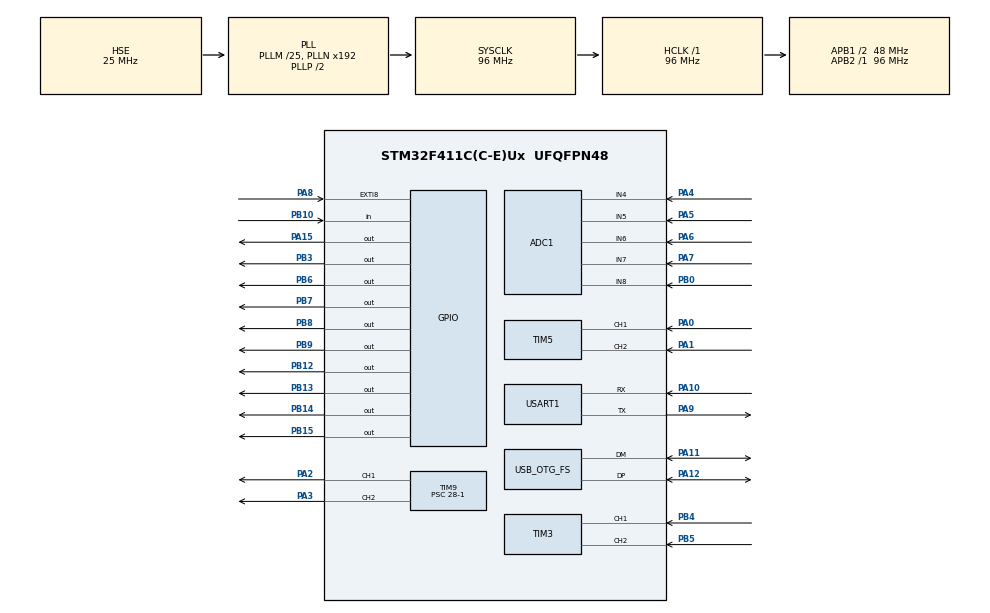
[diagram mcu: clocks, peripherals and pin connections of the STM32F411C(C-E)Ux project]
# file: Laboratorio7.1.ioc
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ADC1.Channel-1\#ChannelRegularConversion=ADC_CHANNEL_4
ADC1.Channel-2\#ChannelRegularConversion=ADC_CHANNEL_5
ADC1.Channel-3\#ChannelRegularConversion=ADC_CHANNEL_6
ADC1.Channel-4\#ChannelRegularConversion=ADC_CHANNEL_7
ADC1.Channel-5\#ChannelRegularConversion=ADC_CHANNEL_8
ADC1.NbrOfConversion=5
ADC1.NbrOfConversionFlag=1
ADC1.Rank-1\#ChannelRegularConversion=1
ADC1.Rank-2\#ChannelRegularConversion=2
ADC1.Rank-3\#ChannelRegularConversion=3
ADC1.Rank-4\#ChannelRegularConversion=4
ADC1.Rank-5\#ChannelRegularConversion=5
ADC1.SamplingTime-1\#ChannelRegularConversion=ADC_SAMPLETIME_3CYCLES
ADC1.SamplingTime-2\#ChannelRegularConversion=ADC_SAMPLETIME_3CYCLES
ADC1.SamplingTime-3\#ChannelRegularConversion=ADC_SAMPLETIME_3CYCLES
ADC1.SamplingTime-4\#ChannelRegularConversion=ADC_SAMPLETIME_3CYCLES
ADC1.SamplingTime-5\#ChannelRegularConversion=ADC_SAMPLETIME_3CYCLES
ADC1.ScanConvMode=ENABLE
ADC1.master=1
Dma.ADC1.0.Direction=DMA_PERIPH_TO_MEMORY
Dma.ADC1.0.FIFOMode=DMA_FIFOMODE_DISABLE
Dma.ADC1.0.Instance=DMA2_Stream0
Dma.ADC1.0.MemDataAlignment=DMA_MDATAALIGN_HALFWORD
Dma.ADC1.0.MemInc=DMA_MINC_ENABLE
Dma.ADC1.0.Mode=DMA_CIRCULAR
Dma.ADC1.0.PeriphDataAlignment=DMA_PDATAALIGN_HALFWORD
Dma.ADC1.0.PeriphInc=DMA_PINC_DISABLE
Dma.ADC1.0.Priority=DMA_PRIORITY_LOW
Dma.Request0=ADC1
Mcu.Family=STM32F4
Mcu.Name=STM32F411C(C-E)Ux
Mcu.Package=UFQFPN48
NVIC.DMA2_Stream0_IRQn=true\:0\:0\:false\:false\:true\:false\:true\:true
NVIC.OTG_FS_IRQn=true\:0\:0\:false\:false\:true\:false\:true\:true
NVIC.PriorityGroup=NVIC_PRIORITYGROUP_4
PA0-WKUP.Signal=S_TIM5_CH1
PA1.Signal=S_TIM5_CH2
PA10.Mode=Asynchronous
PA10.Signal=USART1_RX
PA11.Mode=Device_Only
PA11.Signal=USB_OTG_FS_DM
PA12.Mode=Device_Only
PA12.Signal=USB_OTG_FS_DP
PA13.Mode=Serial_Wire
PA13.Signal=SYS_JTMS-SWDIO
PA14.Mode=Serial_Wire
PA14.Signal=SYS_JTCK-SWCLK
PA15.Signal=GPIO_Output
PA2.Signal=S_TIM9_CH1
PA3.Signal=S_TIM9_CH2
PA4.Signal=ADCx_IN4
PA5.Signal=ADCx_IN5
PA6.Signal=ADCx_IN6
PA7.Signal=ADCx_IN7
PA8.Signal=GPXTI8
PA9.Mode=Asynchronous
PA9.Signal=USART1_TX
PB0.Signal=ADCx_IN8
PB10.Signal=GPIO_Input
PB12.Signal=GPIO_Output
PB13.Signal=GPIO_Output
PB14.Signal=GPIO_Output
PB15.Signal=GPIO_Output
PB3.Signal=GPIO_Output
PB4.Signal=S_TIM3_CH1
PB5.Signal=S_TIM3_CH2
PB6.Signal=GPIO_Output
PB7.Signal=GPIO_Output
PB8.Signal=GPIO_Output
PB9.Signal=GPIO_Output
PH0\ -\ OSC_IN.Mode=HSE-External-Oscillator
PH0\ -\ OSC_IN.Signal=RCC_OSC_IN
PH1\ -\ OSC_OUT.Mode=HSE-External-Oscillator
PH1\ -\ OSC_OUT.Signal=RCC_OSC_OUT
ProjectManager.HeapSize=0x200
ProjectManager.StackSize=0x400
ProjectManager.TargetToolchain=STM32CubeIDE
RCC.48MHZClocksFreq_Value=48000000
RCC.AHBFreq_Value=96000000
RCC.APB1CLKDivider=RCC_HCLK_DIV2
RCC.APB1Freq_Value=48000000
RCC.APB1TimFreq_Value=96000000
RCC.APB2Freq_Value=96000000
RCC.APB2TimFreq_Value=96000000
RCC.CortexFreq_Value=96000000
RCC.HCLKFreq_Value=96000000
RCC.HSE_VALUE=25000000
RCC.HSI_VALUE=16000000
RCC.LSE_VALUE=32768
RCC.PLLM=25
RCC.SYSCLKFreq_VALUE=96000000
RCC.SYSCLKSource=RCC_SYSCLKSOURCE_PLLCLK
RCC.VCOOutputFreq_Value=192000000
SH.ADCx_IN4.0=ADC1_IN4,IN4
SH.ADCx_IN5.0=ADC1_IN5,IN5
SH.ADCx_IN6.0=ADC1_IN6,IN6
SH.ADCx_IN7.0=ADC1_IN7,IN7
SH.ADCx_IN8.0=ADC1_IN8,IN8
SH.S_TIM3_CH1.0=TIM3_CH1,Encoder_Interface
SH.S_TIM3_CH2.0=TIM3_CH2,Encoder_Interface
SH.S_TIM5_CH1.0=TIM5_CH1,Encoder_Interface
SH.S_TIM5_CH2.0=TIM5_CH2,Encoder_Interface
SH.S_TIM9_CH1.0=TIM9_CH1,PWM Generation1 CH1
SH.S_TIM9_CH2.0=TIM9_CH2,PWM Generation2 CH2
TIM1.Prescaler=48000-1
TIM2.Prescaler=48000-1
TIM3.EncoderMode=TIM_ENCODERMODE_TI12
TIM3.IC1Filter=15
TIM3.IC1Polarity=TIM_ICPOLARITY_FALLING
TIM3.IC2Filter=15
TIM3.IC2Polarity=TIM_ICPOLARITY_FALLING
TIM4.Prescaler=48000-1
TIM5.EncoderMode=TIM_ENCODERMODE_TI12
TIM5.IC1Filter=15
TIM5.IC1Polarity=TIM_ICPOLARITY_FALLING
TIM5.IC2Filter=15
TIM5.IC2Polarity=TIM_ICPOLARITY_FALLING
TIM9.Channel-PWM\ Generation1\ CH1=TIM_CHANNEL_1
TIM9.Channel-PWM\ Generation2\ CH2=TIM_CHANNEL_2
TIM9.Period=100-1
TIM9.Prescaler=28-1
USART1.VirtualMode=VM_ASYNC
USB_DEVICE.CLASS_NAME_FS=CDC
USB_DEVICE.VirtualMode=Cdc
USB_DEVICE.VirtualModeFS=Cdc_FS
USB_OTG_FS.VirtualMode=Device_Only
VP_TIM1_VS_ClockSourceINT.Mode=Internal
VP_TIM2_VS_ClockSourceINT.Mode=Internal
VP_TIM4_VS_ClockSourceINT.Mode=Internal
VP_TIM9_VS_ClockSourceINT.Mode=Internal
VP_USB_DEVICE_VS_USB_DEVICE_CDC_FS.Mode=CDC_FS
board=custom

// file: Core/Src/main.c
/* USER CODE BEGIN Header */
/**
  ******************************************************************************
  * @file           : main.c
  * @brief          : Main program body
  ******************************************************************************
  * @attention
  *
  * Copyright (c) 2025 STMicroelectronics.
  * All rights reserved.
  *
  * This software is licensed under terms that can be found in the LICENSE file
  * in the root directory of this software component.
  * If no LICENSE file comes with this software, it is provided AS-IS.
  *
  ******************************************************************************
  */
/* USER CODE END Header */
#include "main.h"
#include "usb_device.h"

/* USER CODE BEGIN Includes */
#include "usbd_cdc_if.h"
#include "motorDriver.h"
#include <math.h>
#include "comunicacion.h"
#include "velocidad.h"
#include "distancia.h"
#include "complemento.h"

/* USER CODE END Includes */

ADC_HandleTypeDef hadc1;
DMA_HandleTypeDef hdma_adc1;

TIM_HandleTypeDef htim1;
TIM_HandleTypeDef htim2;
TIM_HandleTypeDef htim3;
TIM_HandleTypeDef htim4;
TIM_HandleTypeDef htim5;
TIM_HandleTypeDef htim9;

UART_HandleTypeDef huart1;

void SystemClock_Config(void);
static void MX_GPIO_Init(void);
static void MX_DMA_Init(void);
static void MX_TIM2_Init(void);
static void MX_TIM3_Init(void);
static void MX_TIM5_Init(void);
static void MX_TIM9_Init(void);
static void MX_ADC1_Init(void);
static void MX_TIM4_Init(void);
static void MX_TIM1_Init(void);
static void MX_USART1_UART_Init(void);

/* USER CODE BEGIN 0 */
uint8_t set = 1;
float pulsos = 0;
float pulsos_2 = 0;
uint32_t tiempo = 0;
int32_t dir_mm;
int16_t pwm_mm = 0;
int32_t val_pwm = 0;
float pulsos_ant = 0;
float pulsos_act = 0;
float pulsos_ant_2 = 0;
float pulsos_act_2 = 0;
int32_t contador_actual = 0;
int32_t contador_actual_2 = 0;
int32_t contador = 0;
int16_t rpm = 0;
int16_t rpm_2 = 0;
int16_t rpm_f = 0;
float diametro_rueda = 38.2;
int16_t velocidad_mm_s = 0;
int16_t velocidad_rad_s = 0;
int32_t valor;
int32_t voltaje;
int16_t vel_mm_s;
int8_t velocidad_motor;
float voltaje_float;

uint16_t adcValue[5] = {0, 0, 0, 0, 0};
uint16_t adcMM[5] = {0, 0, 0, 0, 0};
float adcVoltaje[5] = {0, 0, 0, 0, 0};
char texto[64];
uint16_t distancia_objetivo;

#define ADC_BUFFER_SIZE 10
uint16_t adc_buffer[5][ADC_BUFFER_SIZE] = {0};
uint8_t adc_buffer_index = 0;

float adc_avg[5] = {0, 0, 0, 0, 0};
uint8_t muestras = 0;
uint8_t bnd = 0;

float distancias_mm[] = {20, 25, 30, 35, 40, 45, 50, 55, 60, 65, 70, 75, 80, 85, 90, 95, 100,
                         105, 110, 115, 120, 125, 130, 135, 140, 145, 150, 155, 160, 165,
                         170, 175, 180, 185, 190, 195, 200, 205, 210, 215, 220};
int num_puntos = 41;

uint16_t adc_sensor1[] = {2580, 2279, 1972, 1606, 1372, 1160, 998, 838, 684, 582, 506, 435,
                          373, 335, 333, 303, 277, 253, 228, 209, 193, 180, 167, 161, 155,
                          147, 140, 136, 132, 130, 128, 124, 127, 124, 122, 122, 119, 118, 118, 118, 117};
uint16_t adc_sensor2[] = {925, 849, 752, 650, 589, 517, 479, 424, 367, 333, 306, 264,
                          250, 224, 223, 205, 189, 183, 174, 161, 150, 143, 134, 130,
                          127, 122, 116, 116, 114, 113, 115, 120, 118, 121, 121, 119, 120,
                          119, 119, 119, 120};
uint16_t adc_sensor3[] = {1071, 891, 727, 557, 464, 377, 324, 274, 242, 213, 197, 173,
                          173, 166, 166, 158, 148, 144, 140, 130, 129, 124, 121, 121,
                          123, 124, 127, 124, 124, 122, 119, 118, 120, 117, 119, 122, 120,
                          119, 119, 119, 119};
uint16_t adc_sensor4[] = {3497, 3025, 2412, 1873, 1583, 1313, 1119, 969, 809, 717, 643, 575,
                          527, 492, 4491, 467, 446, 427, 411, 392, 380, 374, 360, 356,
                          350, 340, 339, 334, 331, 329, 326, 324, 326, 326, 323, 321, 319,
                          319, 318, 316, 316};

/* USER CODE END 0 */

int main(void)
{

  /* MCU Configuration--------------------------------------------------------*/

  /* Reset of all peripherals, Initializes the Flash interface and the Systick. */
  HAL_Init();

  /* Configure the system clock */
  SystemClock_Config();

  /* Initialize all configured peripherals */
  MX_GPIO_Init();
  MX_DMA_Init();
  MX_TIM2_Init();
  MX_TIM3_Init();
  MX_USB_DEVICE_Init();
  MX_TIM5_Init();
  MX_TIM9_Init();
  MX_ADC1_Init();
  MX_TIM4_Init();
  MX_TIM1_Init();
  MX_USART1_UART_Init();
  /* USER CODE BEGIN 2 */
  motoresInit(&htim9, TIM_CHANNEL_1, TIM_CHANNEL_2);
  HAL_TIM_Base_Start(&htim1);
  HAL_TIM_Base_Start(&htim2);
  HAL_TIM_Base_Start(&htim3);
  HAL_TIM_Base_Start(&htim4);
  HAL_TIM_Encoder_Start(&htim5, TIM_CHANNEL_ALL);

  HAL_ADC_Start_DMA(&hadc1, adcValue, 5);

  /* USER CODE END 2 */

  /* Infinite loop */
  /* USER CODE BEGIN WHILE */
  while (1)
  {

	  instruction();

	  calculo_rpm();

	  contador = ((int32_t)__HAL_TIM_GET_COUNTER(&htim5)) /1431;
	  tiempo = (__HAL_TIM_GET_COUNTER(&htim2)/2);

	  calibracion();
	  promedio_adc();
	  calculo_mm();

	  datos_enviar(rpm_f, contador, tiempo, velocidad_mm_s, velocidad_rad_s,
	                   adcValue[0], adcValue[1], adcValue[2], adcValue[3],
	                   adcVoltaje[0], adcVoltaje[1], adcVoltaje[2], adcVoltaje[3],
	                   adcMM[0], adcMM[1], adcMM[2], adcMM[3]);

	  if((bnd == 1) && (HAL_GPIO_ReadPin(GPIOB, GPIO_PIN_10) == 0)){
		  control_distancia(distancia_objetivo);
		  bnd = 0;
	  }

    /* USER CODE END WHILE */

  }
}

void SystemClock_Config(void)
{
  RCC_OscInitTypeDef RCC_OscInitStruct = {0};
  RCC_ClkInitTypeDef RCC_ClkInitStruct = {0};

  /** Configure the main internal regulator output voltage
  */
  __HAL_RCC_PWR_CLK_ENABLE();
  __HAL_PWR_VOLTAGESCALING_CONFIG(PWR_REGULATOR_VOLTAGE_SCALE1);

  /** Initializes the RCC Oscillators according to the specified parameters
  * in the RCC_OscInitTypeDef structure.
  */
  RCC_OscInitStruct.OscillatorType = RCC_OSCILLATORTYPE_HSE;
  RCC_OscInitStruct.HSEState = RCC_HSE_ON;
  RCC_OscInitStruct.PLL.PLLState = RCC_PLL_ON;
  RCC_OscInitStruct.PLL.PLLSource = RCC_PLLSOURCE_HSE;
  RCC_OscInitStruct.PLL.PLLM = 25;
  RCC_OscInitStruct.PLL.PLLN = 192;
  RCC_OscInitStruct.PLL.PLLP = RCC_PLLP_DIV2;
  RCC_OscInitStruct.PLL.PLLQ = 4;
  if (HAL_RCC_OscConfig(&RCC_OscInitStruct) != HAL_OK)
  {
    Error_Handler();
  }

  /** Initializes the CPU, AHB and APB buses clocks
  */
  RCC_ClkInitStruct.ClockType = RCC_CLOCKTYPE_HCLK|RCC_CLOCKTYPE_SYSCLK
                              |RCC_CLOCKTYPE_PCLK1|RCC_CLOCKTYPE_PCLK2;
  RCC_ClkInitStruct.SYSCLKSource = RCC_SYSCLKSOURCE_PLLCLK;
  RCC_ClkInitStruct.AHBCLKDivider = RCC_SYSCLK_DIV1;
  RCC_ClkInitStruct.APB1CLKDivider = RCC_HCLK_DIV2;
  RCC_ClkInitStruct.APB2CLKDivider = RCC_HCLK_DIV1;

  if (HAL_RCC_ClockConfig(&RCC_ClkInitStruct, FLASH_LATENCY_3) != HAL_OK)
  {
    Error_Handler();
  }
}

static void MX_ADC1_Init(void)
{

  ADC_ChannelConfTypeDef sConfig = {0};

  /** Configure the global features of the ADC (Clock, Resolution, Data Alignment and number of conversion)
  */
  hadc1.Instance = ADC1;
  hadc1.Init.ClockPrescaler = ADC_CLOCK_SYNC_PCLK_DIV4;
  hadc1.Init.Resolution = ADC_RESOLUTION_12B;
  hadc1.Init.ScanConvMode = ENABLE;
  hadc1.Init.ContinuousConvMode = DISABLE;
  hadc1.Init.DiscontinuousConvMode = DISABLE;
  hadc1.Init.ExternalTrigConvEdge = ADC_EXTERNALTRIGCONVEDGE_NONE;
  hadc1.Init.ExternalTrigConv = ADC_SOFTWARE_START;
  hadc1.Init.DataAlign = ADC_DATAALIGN_RIGHT;
  hadc1.Init.NbrOfConversion = 5;
  hadc1.Init.DMAContinuousRequests = DISABLE;
  hadc1.Init.EOCSelection = ADC_EOC_SINGLE_CONV;
  if (HAL_ADC_Init(&hadc1) != HAL_OK)
  {
    Error_Handler();
  }

  /** Configure for the selected ADC regular channel its corresponding rank in the sequencer and its sample time.
  */
  sConfig.Channel = ADC_CHANNEL_4;
  sConfig.Rank = 1;
  sConfig.SamplingTime = ADC_SAMPLETIME_3CYCLES;
  if (HAL_ADC_ConfigChannel(&hadc1, &sConfig) != HAL_OK)
  {
    Error_Handler();
  }

  /** Configure for the selected ADC regular channel its corresponding rank in the sequencer and its sample time.
  */
  sConfig.Channel = ADC_CHANNEL_5;
  sConfig.Rank = 2;
  if (HAL_ADC_ConfigChannel(&hadc1, &sConfig) != HAL_OK)
  {
    Error_Handler();
  }

  /** Configure for the selected ADC regular channel its corresponding rank in the sequencer and its sample time.
  */
  sConfig.Channel = ADC_CHANNEL_6;
  sConfig.Rank = 3;
  if (HAL_ADC_ConfigChannel(&hadc1, &sConfig) != HAL_OK)
  {
    Error_Handler();
  }

  /** Configure for the selected ADC regular channel its corresponding rank in the sequencer and its sample time.
  */
  sConfig.Channel = ADC_CHANNEL_7;
  sConfig.Rank = 4;
  if (HAL_ADC_ConfigChannel(&hadc1, &sConfig) != HAL_OK)
  {
    Error_Handler();
  }

  /** Configure for the selected ADC regular channel its corresponding rank in the sequencer and its sample time.
  */
  sConfig.Channel = ADC_CHANNEL_8;
  sConfig.Rank = 5;
  if (HAL_ADC_ConfigChannel(&hadc1, &sConfig) != HAL_OK)
  {
    Error_Handler();
  }

}

static void MX_TIM1_Init(void)
{

  TIM_ClockConfigTypeDef sClockSourceConfig = {0};
  TIM_MasterConfigTypeDef sMasterConfig = {0};

  htim1.Instance = TIM1;
  htim1.Init.Prescaler = 48000-1;
  htim1.Init.CounterMode = TIM_COUNTERMODE_UP;
  htim1.Init.Period = 65535;
  htim1.Init.ClockDivision = TIM_CLOCKDIVISION_DIV1;
  htim1.Init.RepetitionCounter = 0;
  htim1.Init.AutoReloadPreload = TIM_AUTORELOAD_PRELOAD_DISABLE;
  if (HAL_TIM_Base_Init(&htim1) != HAL_OK)
  {
    Error_Handler();
  }
  sClockSourceConfig.ClockSource = TIM_CLOCKSOURCE_INTERNAL;
  if (HAL_TIM_ConfigClockSource(&htim1, &sClockSourceConfig) != HAL_OK)
  {
    Error_Handler();
  }
  sMasterConfig.MasterOutputTrigger = TIM_TRGO_RESET;
  sMasterConfig.MasterSlaveMode = TIM_MASTERSLAVEMODE_DISABLE;
  if (HAL_TIMEx_MasterConfigSynchronization(&htim1, &sMasterConfig) != HAL_OK)
  {
    Error_Handler();
  }

}

static void MX_TIM2_Init(void)
{

  TIM_ClockConfigTypeDef sClockSourceConfig = {0};
  TIM_MasterConfigTypeDef sMasterConfig = {0};

  htim2.Instance = TIM2;
  htim2.Init.Prescaler = 48000-1;
  htim2.Init.CounterMode = TIM_COUNTERMODE_UP;
  htim2.Init.Period = 4294967295;
  htim2.Init.ClockDivision = TIM_CLOCKDIVISION_DIV1;
  htim2.Init.AutoReloadPreload = TIM_AUTORELOAD_PRELOAD_DISABLE;
  if (HAL_TIM_Base_Init(&htim2) != HAL_OK)
  {
    Error_Handler();
  }
  sClockSourceConfig.ClockSource = TIM_CLOCKSOURCE_INTERNAL;
  if (HAL_TIM_ConfigClockSource(&htim2, &sClockSourceConfig) != HAL_OK)
  {
    Error_Handler();
  }
  sMasterConfig.MasterOutputTrigger = TIM_TRGO_RESET;
  sMasterConfig.MasterSlaveMode = TIM_MASTERSLAVEMODE_DISABLE;
  if (HAL_TIMEx_MasterConfigSynchronization(&htim2, &sMasterConfig) != HAL_OK)
  {
    Error_Handler();
  }

}

static void MX_TIM3_Init(void)
{

  TIM_Encoder_InitTypeDef sConfig = {0};
  TIM_MasterConfigTypeDef sMasterConfig = {0};

  htim3.Instance = TIM3;
  htim3.Init.Prescaler = 0;
  htim3.Init.CounterMode = TIM_COUNTERMODE_UP;
  htim3.Init.Period = 65535;
  htim3.Init.ClockDivision = TIM_CLOCKDIVISION_DIV1;
  htim3.Init.AutoReloadPreload = TIM_AUTORELOAD_PRELOAD_DISABLE;
  sConfig.EncoderMode = TIM_ENCODERMODE_TI12;
  sConfig.IC1Polarity = TIM_ICPOLARITY_FALLING;
  sConfig.IC1Selection = TIM_ICSELECTION_DIRECTTI;
  sConfig.IC1Prescaler = TIM_ICPSC_DIV1;
  sConfig.IC1Filter = 15;
  sConfig.IC2Polarity = TIM_ICPOLARITY_FALLING;
  sConfig.IC2Selection = TIM_ICSELECTION_DIRECTTI;
  sConfig.IC2Prescaler = TIM_ICPSC_DIV1;
  sConfig.IC2Filter = 15;
  if (HAL_TIM_Encoder_Init(&htim3, &sConfig) != HAL_OK)
  {
    Error_Handler();
  }
  sMasterConfig.MasterOutputTrigger = TIM_TRGO_RESET;
  sMasterConfig.MasterSlaveMode = TIM_MASTERSLAVEMODE_DISABLE;
  if (HAL_TIMEx_MasterConfigSynchronization(&htim3, &sMasterConfig) != HAL_OK)
  {
    Error_Handler();
  }

}

static void MX_TIM4_Init(void)
{

  TIM_ClockConfigTypeDef sClockSourceConfig = {0};
  TIM_MasterConfigTypeDef sMasterConfig = {0};

  htim4.Instance = TIM4;
  htim4.Init.Prescaler = 48000-1;
  htim4.Init.CounterMode = TIM_COUNTERMODE_UP;
  htim4.Init.Period = 65535;
  htim4.Init.ClockDivision = TIM_CLOCKDIVISION_DIV1;
  htim4.Init.AutoReloadPreload = TIM_AUTORELOAD_PRELOAD_DISABLE;
  if (HAL_TIM_Base_Init(&htim4) != HAL_OK)
  {
    Error_Handler();
  }
  sClockSourceConfig.ClockSource = TIM_CLOCKSOURCE_INTERNAL;
  if (HAL_TIM_ConfigClockSource(&htim4, &sClockSourceConfig) != HAL_OK)
  {
    Error_Handler();
  }
  sMasterConfig.MasterOutputTrigger = TIM_TRGO_RESET;
  sMasterConfig.MasterSlaveMode = TIM_MASTERSLAVEMODE_DISABLE;
  if (HAL_TIMEx_MasterConfigSynchronization(&htim4, &sMasterConfig) != HAL_OK)
  {
    Error_Handler();
  }

}

static void MX_TIM5_Init(void)
{

  TIM_Encoder_InitTypeDef sConfig = {0};
  TIM_MasterConfigTypeDef sMasterConfig = {0};

  htim5.Instance = TIM5;
  htim5.Init.Prescaler = 0;
  htim5.Init.CounterMode = TIM_COUNTERMODE_UP;
  htim5.Init.Period = 4294967295;
  htim5.Init.ClockDivision = TIM_CLOCKDIVISION_DIV1;
  htim5.Init.AutoReloadPreload = TIM_AUTORELOAD_PRELOAD_DISABLE;
  sConfig.EncoderMode = TIM_ENCODERMODE_TI12;
  sConfig.IC1Polarity = TIM_ICPOLARITY_FALLING;
  sConfig.IC1Selection = TIM_ICSELECTION_DIRECTTI;
  sConfig.IC1Prescaler = TIM_ICPSC_DIV1;
  sConfig.IC1Filter = 15;
  sConfig.IC2Polarity = TIM_ICPOLARITY_FALLING;
  sConfig.IC2Selection = TIM_ICSELECTION_DIRECTTI;
  sConfig.IC2Prescaler = TIM_ICPSC_DIV1;
  sConfig.IC2Filter = 15;
  if (HAL_TIM_Encoder_Init(&htim5, &sConfig) != HAL_OK)
  {
    Error_Handler();
  }
  sMasterConfig.MasterOutputTrigger = TIM_TRGO_RESET;
  sMasterConfig.MasterSlaveMode = TIM_MASTERSLAVEMODE_DISABLE;
  if (HAL_TIMEx_MasterConfigSynchronization(&htim5, &sMasterConfig) != HAL_OK)
  {
    Error_Handler();
  }

}

static void MX_TIM9_Init(void)
{

  TIM_ClockConfigTypeDef sClockSourceConfig = {0};
  TIM_OC_InitTypeDef sConfigOC = {0};

  htim9.Instance = TIM9;
  htim9.Init.Prescaler = 28-1;
  htim9.Init.CounterMode = TIM_COUNTERMODE_UP;
  htim9.Init.Period = 100-1;
  htim9.Init.ClockDivision = TIM_CLOCKDIVISION_DIV1;
  htim9.Init.AutoReloadPreload = TIM_AUTORELOAD_PRELOAD_DISABLE;
  if (HAL_TIM_Base_Init(&htim9) != HAL_OK)
  {
    Error_Handler();
  }
  sClockSourceConfig.ClockSource = TIM_CLOCKSOURCE_INTERNAL;
  if (HAL_TIM_ConfigClockSource(&htim9, &sClockSourceConfig) != HAL_OK)
  {
    Error_Handler();
  }
  if (HAL_TIM_PWM_Init(&htim9) != HAL_OK)
  {
    Error_Handler();
  }
  sConfigOC.OCMode = TIM_OCMODE_PWM1;
  sConfigOC.Pulse = 0;
  sConfigOC.OCPolarity = TIM_OCPOLARITY_HIGH;
  sConfigOC.OCFastMode = TIM_OCFAST_DISABLE;
  if (HAL_TIM_PWM_ConfigChannel(&htim9, &sConfigOC, TIM_CHANNEL_1) != HAL_OK)
  {
    Error_Handler();
  }
  if (HAL_TIM_PWM_ConfigChannel(&htim9, &sConfigOC, TIM_CHANNEL_2) != HAL_OK)
  {
    Error_Handler();
  }
  HAL_TIM_MspPostInit(&htim9);

}

static void MX_USART1_UART_Init(void)
{

  huart1.Instance = USART1;
  huart1.Init.BaudRate = 115200;
  huart1.Init.WordLength = UART_WORDLENGTH_8B;
  huart1.Init.StopBits = UART_STOPBITS_1;
  huart1.Init.Parity = UART_PARITY_NONE;
  huart1.Init.Mode = UART_MODE_TX_RX;
  huart1.Init.HwFlowCtl = UART_HWCONTROL_NONE;
  huart1.Init.OverSampling = UART_OVERSAMPLING_16;
  if (HAL_UART_Init(&huart1) != HAL_OK)
  {
    Error_Handler();
  }

}

static void MX_DMA_Init(void)
{

  /* DMA controller clock enable */
  __HAL_RCC_DMA2_CLK_ENABLE();

  /* DMA interrupt init */
  /* DMA2_Stream0_IRQn interrupt configuration */
  HAL_NVIC_SetPriority(DMA2_Stream0_IRQn, 0, 0);
  HAL_NVIC_EnableIRQ(DMA2_Stream0_IRQn);

}

static void MX_GPIO_Init(void)
{
  GPIO_InitTypeDef GPIO_InitStruct = {0};

  /* GPIO Ports Clock Enable */
  __HAL_RCC_GPIOH_CLK_ENABLE();
  __HAL_RCC_GPIOA_CLK_ENABLE();
  __HAL_RCC_GPIOB_CLK_ENABLE();

  /*Configure GPIO pin Output Level */
  HAL_GPIO_WritePin(GPIOB, GPIO_PIN_12|GPIO_PIN_13|GPIO_PIN_14|GPIO_PIN_15
                          |GPIO_PIN_3|GPIO_PIN_6|GPIO_PIN_7|GPIO_PIN_8
                          |GPIO_PIN_9, GPIO_PIN_RESET);

  /*Configure GPIO pin Output Level */
  HAL_GPIO_WritePin(GPIOA, GPIO_PIN_15, GPIO_PIN_RESET);

  /*Configure GPIO pin : PB10 */
  GPIO_InitStruct.Pin = GPIO_PIN_10;
  GPIO_InitStruct.Mode = GPIO_MODE_INPUT;
  GPIO_InitStruct.Pull = GPIO_NOPULL;
  HAL_GPIO_Init(GPIOB, &GPIO_InitStruct);

  /*Configure GPIO pins : PB12 PB13 PB14 PB15
                           PB3 PB6 PB7 PB8
                           PB9 */
  GPIO_InitStruct.Pin = GPIO_PIN_12|GPIO_PIN_13|GPIO_PIN_14|GPIO_PIN_15
                          |GPIO_PIN_3|GPIO_PIN_6|GPIO_PIN_7|GPIO_PIN_8
                          |GPIO_PIN_9;
  GPIO_InitStruct.Mode = GPIO_MODE_OUTPUT_PP;
  GPIO_InitStruct.Pull = GPIO_NOPULL;
  GPIO_InitStruct.Speed = GPIO_SPEED_FREQ_LOW;
  HAL_GPIO_Init(GPIOB, &GPIO_InitStruct);

  /*Configure GPIO pin : PA8 */
  GPIO_InitStruct.Pin = GPIO_PIN_8;
  GPIO_InitStruct.Mode = GPIO_MODE_IT_RISING;
  GPIO_InitStruct.Pull = GPIO_NOPULL;
  HAL_GPIO_Init(GPIOA, &GPIO_InitStruct);

  /*Configure GPIO pin : PA15 */
  GPIO_InitStruct.Pin = GPIO_PIN_15;
  GPIO_InitStruct.Mode = GPIO_MODE_OUTPUT_PP;
  GPIO_InitStruct.Pull = GPIO_NOPULL;
  GPIO_InitStruct.Speed = GPIO_SPEED_FREQ_LOW;
  HAL_GPIO_Init(GPIOA, &GPIO_InitStruct);

}

/* USER CODE BEGIN 4 */
void HAL_ADC_ConvCpltCallback(ADC_HandleTypeDef *hadc)
{
	//promedio_adc();
	HAL_ADC_Start_DMA(&hadc1, adcValue, 5);
}
/* USER CODE END 4 */

void Error_Handler(void)
{
  __disable_irq();
  while (1)
  {
  }
}
